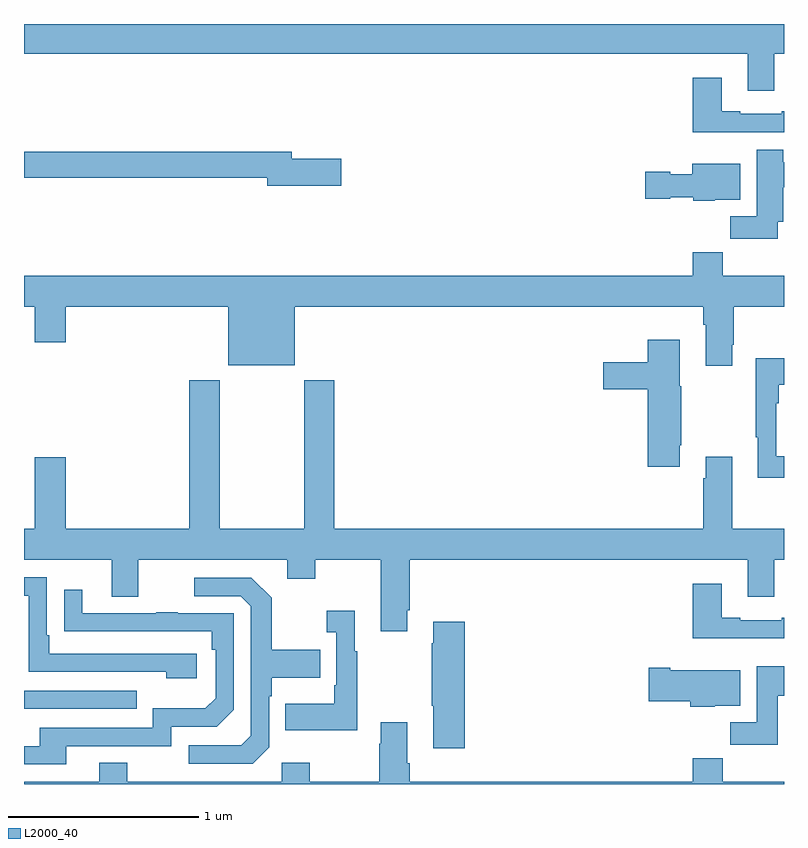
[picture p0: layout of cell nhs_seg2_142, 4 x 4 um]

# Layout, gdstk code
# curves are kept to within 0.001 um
import gdstk
lib = gdstk.Library(unit=1e-6, precision=1e-09)
def R(c, l, rs):  # rectangles x0, y0, x1, y1
    for r in rs: c.add(gdstk.rectangle(r[:2], r[2:], *l))
def P(c, l, *ps):  # polygons
    for p in ps: c.add(gdstk.Polygon(p, *l))
L2000_40 = (2000, 40)

nhs_seg2_142 = lib.new_cell('nhs_seg2_142')
R(nhs_seg2_142, L2000_40, [(117,636.195,117.593,636.291)])
P(nhs_seg2_142, L2000_40, [(120.949,639.644),(121,639.644),(121,639.8),(117,639.8),(117,639.644),(120.809,639.644),(120.809,639.45),(120.949,639.45)],
  [(120.765,639.231),(121,639.231),(121,639.34),(120.989,639.34),(120.989,639.327),(120.769,639.327),(120.769,639.34),(120.673,639.34),(120.673,639.517),(120.521,639.517),(120.521,639.23),(120.765,639.23)],
  [(120.967,638.759),(120.997,638.759),(120.997,638.94),(121,638.94),(121,639.072),(120.997,639.072),(120.997,639.139),(120.857,639.139),(120.857,638.788),(120.718,638.788),(120.718,638.67),(120.967,638.67)],
  [(118.669,639.092),(118.408,639.092),(118.408,639.128),(117,639.128),(117,638.992),(118.28,638.992),(118.28,638.95),(118.669,638.95)],
  [(120.636,638.876),(120.769,638.876),(120.769,639.064),(120.518,639.064),(120.518,639.01),(120.402,639.01),(120.402,639.023),(120.27,639.023),(120.27,638.881),(120.402,638.881),(120.402,638.888),(120.522,638.888),(120.522,638.87),(120.636,638.87)],
  [(120.727,638.113),(120.735,638.113),(120.735,638.312),(121,638.312),(121,638.476),(120.677,638.476),(120.677,638.6),(120.521,638.6),(120.521,638.476),(117,638.476),(117,638.312),(117.056,638.312),(117.056,638.124),(117.22,638.124),(117.22,638.312),(118.076,638.312),(118.076,638.003),(118.426,638.003),(118.426,638.312),(120.575,638.312),(120.575,638.216),(120.587,638.216),(120.587,638.001),(120.727,638.001)],
  [(120.451,637.582),(120.459,637.582),(120.459,637.893),(120.451,637.893),(120.451,638.137),(120.284,638.137),(120.284,638.019),(120.048,638.019),(120.048,637.877),(120.284,637.877),(120.284,637.47),(120.451,637.47)],
  [(121,637.526),(120.96,637.526),(120.96,637.805),(120.973,637.805),(120.973,637.901),(121,637.901),(121,638.041),(120.852,638.041),(120.852,637.625),(120.863,637.625),(120.863,637.413),(121,637.413)],
  [(119.017,636.715),(119.03,636.715),(119.03,636.98),(120.809,636.98),(120.809,636.786),(120.949,636.786),(120.949,636.98),(121,636.98),(121,637.144),(120.727,637.144),(120.727,637.522),(120.587,637.522),(120.587,637.409),(120.575,637.409),(120.575,637.144),(118.634,637.144),(118.634,637.924),(118.474,637.924),(118.474,637.144),(118.029,637.144),(118.029,637.924),(117.869,637.924),(117.869,637.144),(117.22,637.144),(117.22,637.519),(117.056,637.519),(117.056,637.144),(117,637.144),(117,636.98),(117.461,636.98),(117.461,636.786),(117.601,636.786),(117.601,636.98),(118.385,636.98),(118.385,636.881),(118.533,636.881),(118.533,636.98),(118.877,636.98),(118.877,636.603),(119.017,636.603)],
  [(117.91,636.486),(117.133,636.486),(117.133,636.583),(117.12,636.583),(117.12,636.888),(117,636.888),(117,636.792),(117.024,636.792),(117.024,636.39),(117.749,636.39),(117.749,636.356),(117.91,636.356)],
  [(118.29,635.994),(118.29,636.263),(118.303,636.263),(118.303,636.359),(118.559,636.359),(118.559,636.507),(118.303,636.507),(118.303,636.779),(118.197,636.885),(117.897,636.885),(117.897,636.789),(118.14,636.789),(118.194,636.735),(118.194,636.054),(118.143,636.003),(117.867,636.003),(117.867,635.907),(118.203,635.907)],
  [(121,636.676),(120.989,636.676),(120.989,636.663),(120.769,636.663),(120.769,636.676),(120.673,636.676),(120.673,636.853),(120.521,636.853),(120.521,636.566),(121,636.566)],
  [(117.223,636),(117.774,636),(117.774,636.102),(118.014,636.102),(118.104,636.192),(118.104,636.699),(117.809,636.699),(117.809,636.704),(117.697,636.704),(117.697,636.699),(117.307,636.699),(117.307,636.823),(117.211,636.823),(117.211,636.604),(117.988,636.603),(117.988,636.506),(118.008,636.506),(118.008,636.252),(117.955,636.199),(117.678,636.199),(117.678,636.096),(117.083,636.096),(117.083,636),(117,636),(117,635.904),(117.223,635.904)],
  [(118.753,636.499),(118.741,636.499),(118.741,636.712),(118.593,636.712),(118.593,636.599),(118.644,636.599),(118.644,636.319),(118.632,636.319),(118.632,636.223),(118.375,636.223),(118.375,636.083),(118.753,636.083)],
  [(119.321,636.655),(119.153,636.655),(119.153,636.542),(119.146,636.542),(119.146,636.211),(119.153,636.211),(119.153,635.988),(119.321,635.988)],
  [(120.967,636.265),(121,636.265),(121,636.421),(120.857,636.421),(120.857,636.124),(120.718,636.124),(120.718,636.006),(120.967,636.006)],
  [(120.636,636.212),(120.769,636.212),(120.769,636.4),(120.4,636.4),(120.4,636.413),(120.288,636.413),(120.288,636.235),(120.506,636.235),(120.506,636.206),(120.636,636.206)],
  [(121,635.812),(120.677,635.812),(120.677,635.936),(120.521,635.936),(120.521,635.812),(119.03,635.812),(119.03,635.908),(119.017,635.908),(119.017,636.124),(118.877,636.124),(118.877,636.011),(118.87,636.011),(118.87,635.812),(118.503,635.812),(118.503,635.911),(118.356,635.911),(118.356,635.812),(117.543,635.812),(117.543,635.911),(117.395,635.911),(117.395,635.812),(117,635.812),(117,635.8),(121,635.8)])

lib.write_gds('nhs_seg2_142.gds')
